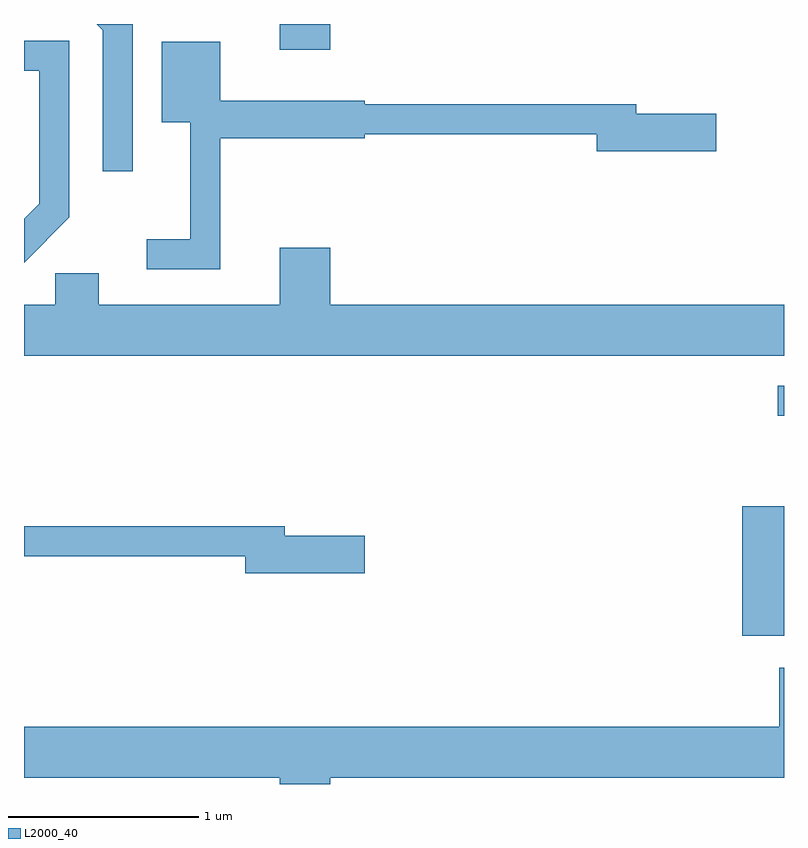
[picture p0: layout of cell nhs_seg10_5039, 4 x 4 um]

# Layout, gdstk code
import gdstk
lib = gdstk.Library(unit=1e-6, precision=1e-09)
def R(c, l, rs):  # rectangles x0, y0, x1, y1
    for r in rs: c.add(gdstk.rectangle(r[:2], r[2:], *l))
def P(c, l, *ps):  # polygons
    for p in ps: c.add(gdstk.Polygon(p, *l))
L2000_40 = (2000, 40)

nhs_seg10_5039 = lib.new_cell('nhs_seg10_5039')
R(nhs_seg10_5039, L2000_40, [(337.391,2141.301,337.611,2141.984), (337.578,2142.461,337.611,2142.619), (334.956,2144.386,335.224,2144.522)])
P(nhs_seg10_5039, L2000_40, [(334.184,2144.522),(333.993,2144.522),(334.026,2144.489),(334.026,2143.748),(334.184,2143.748)],
  [(333.849,2143.504),(333.849,2144.434),(333.611,2144.434),(333.611,2144.276),(333.691,2144.276),(333.691,2143.577),(333.611,2143.497),(333.611,2143.265)],
  [(334.644,2143.921),(335.404,2143.921),(335.404,2143.941),(336.626,2143.941),(336.626,2143.851),(337.254,2143.851),(337.254,2144.049),(336.834,2144.049),(336.834,2144.099),(335.404,2144.099),(335.404,2144.119),(334.644,2144.119),(334.644,2144.429),(334.336,2144.429),(334.336,2144.006),(334.486,2144.006),(334.486,2143.389),(334.258,2143.389),(334.258,2143.231),(334.644,2143.231)],
  [(337.611,2143.044),(335.224,2143.044),(335.224,2143.344),(334.956,2143.344),(334.956,2143.044),(334.004,2143.044),(334.004,2143.209),(333.776,2143.209),(333.776,2143.044),(333.611,2143.044),(333.611,2142.776),(337.611,2142.776)],
  [(335.404,2141.829),(334.984,2141.829),(334.984,2141.879),(333.611,2141.879),(333.611,2141.721),(334.776,2141.721),(334.776,2141.631),(335.404,2141.631)],
  [(335.224,2140.556),(337.611,2140.556),(337.611,2141.134),(337.586,2141.134),(337.586,2140.824),(333.611,2140.824),(333.611,2140.556),(334.956,2140.556),(334.956,2140.522),(335.224,2140.522)])

lib.write_gds('nhs_seg10_5039.gds')
